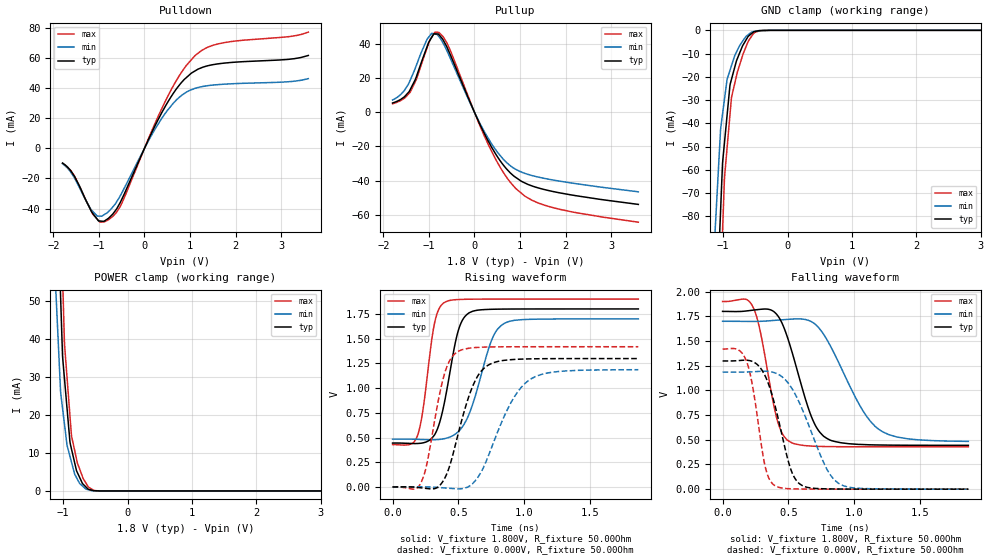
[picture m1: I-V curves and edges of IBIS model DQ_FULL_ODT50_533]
| [Disclaimer]  This software code and all associated documentation, comments
| or other information (collectively "Software") is provided
| "AS IS" without warranty of any kind. MICRON TECHNOLOGY, INC.
| ("MTI") EXPRESSLY DISCLAIMS ALL WARRANTIES EXPRESS OR IMPLIED,
| INCLUDING BUT NOT LIMITED TO, NONINFRINGEMENT OF THIRD PARTY
| RIGHTS, AND ANY IMPLIED WARRANTIES OF MERCHANTABILITY OR
| FITNESS FOR ANY PARTICULAR PURPOSE. MTI DOES NOT WARRANT THAT
| THE SOFTWARE WILL MEET YOUR REQUIREMENTS, OR THAT THE
| OPERATION OF THE SOFTWARE WILL BE UNINTERRUPTED OR ERROR-FREE.
| FURTHERMORE, MTI DOES NOT MAKE ANY REPRESENTATIONS REGARDING
| THE USE OR THE RESULTS OF THE USE OF THE SOFTWARE IN TERMS OF
| ITS CORRECTNESS, ACCURACY, RELIABILITY, OR OTHERWISE. THE
| ENTIRE RISK ARISING OUT OF USE OR PERFORMANCE OF THE SOFTWARE
| REMAINS WITH YOU. IN NO EVENT SHALL MTI, ITS AFFILIATED
| COMPANIES OR THEIR SUPPLIERS BE LIABLE FOR ANY DIRECT,
| INDIRECT, CONSEQUENTIAL, INCIDENTAL, OR SPECIAL DAMAGES
| (INCLUDING, WITHOUT LIMITATION, DAMAGES FOR LOSS OF PROFITS,
| BUSINESS INTERRUPTION, OR LOSS OF INFORMATION) ARISING OUT OF
| YOUR USE OF OR INABILITY TO USE THE SOFTWARE, EVEN IF MTI HAS
| BEEN ADVISED OF THE POSSIBILITY OF SUCH DAMAGES. Because some
| jurisdictions prohibit the exclusion or limitation of
| liability for consequential or incidental damages, the above
| limitation may not apply to you.
| [Copyright] Copyright 2006 Micron Technology, Inc. All rights reserved.
| From micron_ddr2_2Gb.ibs, Micron Technology, Inc.
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|   MODEL DQ_FULL_ODT50_533 (Full-Strength IO Driver with 50 Ohm ODT Submodel)
[Model]   DQ_FULL_ODT50_533
Model_type   I/O
Vinl = 650.000mV
Vinh = 1.150V
Vmeas = 900.000mV
Vref = 900.000mV
Cref = 0.0pF
Rref = 25.000Ohm
|   typ   min   max
C_comp   3.165pF   2.9393pF   3.338pF
| Note: C_comp increases when the ODT circuit is enabled.
[Model Spec]
| Measurement voltage corners
Vmeas   0.900V   0.850V   0.950V
| Input threshold voltage corners
Vinl   0.650V   0.600V   0.700V
Vinh   1.150V   1.100V   1.200V
| Timing spec test load voltage corners
Vref   0.900V   0.850V   0.950V
[Receiver Thresholds]
Vth   =  0.900V
Vth_min  =  0.882V
Vth_max  =  0.918V
Vinh_ac  =  0.250V
Vinh_dc  =  0.125V
Vinl_ac  = -0.250V
Vinl_dc  = -0.125V
Tslew_ac =  5.000ns |Not specified, so set to high value
Threshold_sensitivity = 0.50
Reference_supply Pullup_ref
[Voltage Range]   1.800V   1.700V   1.900V
[Pullup Reference]   1.800V   1.700V   1.900V
| Junction Temperature (Ambient temp is 25C typ, 85C min, 0C max)
[Temperature Range]   40.0   100.0   0.0
[Add Submodel]
| Submodel Name   Mode
50ohm_ODT_533   Non-Driving
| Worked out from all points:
|   slope of the pulldown table from 0 to 0.27 V, typ, clamps not added: 15.6 ohm
|   slope of the pullup table from 0 to 0.27 V, typ, clamps not added: 17.7 ohm
|   GND clamp passes 1 mA (typ) near -0.54 V on its own axis
|   POWER clamp passes 1 mA (typ) near -0.64 V on its own axis
|   falling waveform, V_fixture 1.800V, R_fixture 50.00Ohm: 20-80 % time 186ps typ, 284ps min, 126ps max; typ from 1.8 V to 0.444 V
|   rising waveform, V_fixture 1.800V, R_fixture 50.00Ohm: 20-80 % time 118ps typ, 167ps min, 87.5ps max; typ from 0.444 V to 1.8 V
|   rising waveform, V_fixture 0.000V, R_fixture 50.00Ohm: 20-80 % time 171ps typ, 240ps min, 124ps max; typ from 0 V to 1.3 V
|   falling waveform, V_fixture 0.000V, R_fixture 50.00Ohm: 20-80 % time 149ps typ, 223ps min, 101ps max; typ from 1.3 V to 0 V
[Pulldown]
|   Voltage   I(typ)   I(min)   I(max)
-1.8V     -9.814mA   -10.24mA   -9.848mA
-1.53V    -19.14mA   -20.17mA   -18.78mA
-1.175V   -41.29mA   -40.61mA   -41.34mA
-1.01V    -48.15mA   -44.94mA   -47.98mA
-875mV    -48.09mA   -43.82mA   -48.72mA
-530mV    -35.79mA   -31.35mA   -38.38mA
140mV     9.238mA    7.9mA      10.14mA
495mV     29.81mA    24.81mA    33.5mA
785mV     42.67mA    34.35mA    49.11mA
1.11V     51.31mA    39.75mA    61.46mA
1.675V    56.24mA    42.38mA    69.63mA
3.6V      61.58mA    46.2mA     77.08mA
[GND Clamp]
|   Voltage   I(typ)   I(min)   I(max)
-1.8V     -760.2mA   -639.4mA   -858.5mA
-1.135V   -142mA     -91.44mA   -181.1mA
-1.04V    -77.7mA    -42.64mA   -109.4mA
-1.01V    -57.4mA    -36.14mA   -86.74mA
-1.005V   -55.74mA   -35.08mA   -82.96mA
-975mV    -47.05mA   -28.71mA   -62.08mA
-940mV    -36.9mA    -21.29mA   -50.94mA
-895mV    -23.86mA   -17.33mA   -36.61mA
-870mV    -21.01mA   -15.16mA   -28.83mA
-700mV    -6.769mA   -4.783mA   -11.03mA
-560mV    -1.408mA   -820.9uA   -2.629mA
3.6V      0A         0A         0A
[Pullup]
|   Voltage   I(typ)   I(min)   I(max)
-1.8V     5.495mA    7.28mA     5.041mA
-1.55V    8.919mA    12.47mA    8.134mA
-1.41V    13.49mA    19.05mA    11.91mA
-1.04V    38.69mA    43.01mA    37.95mA
-895mV    46.01mA    46.15mA    46.1mA
-780mV    45.57mA    44.37mA    46.89mA
-535mV    34.05mA    31.96mA    36.61mA
245mV     -13.95mA   -12.71mA   -15.51mA
565mV     -28.45mA   -25.34mA   -32.25mA
910mV     -38.24mA   -33.49mA   -44.76mA
1.645V    -45.99mA   -39.31mA   -55.33mA
3.6V      -54.02mA   -46.63mA   -64.46mA
[POWER Clamp]
|   Voltage   I(typ)   I(min)   I(max)
-1.8V     607.7mA    524.8mA    658.9mA
-1.135V   101mA      60.68mA    129.7mA
-1.04V    51.41mA    26.15mA    74.28mA
-1.005V   34.6mA     21.18mA    53.87mA
-975mV    28.72mA    16.99mA    37.84mA
-940mV    21.86mA    12.11mA    30.02mA
-895mV    13.05mA    9.177mA    19.98mA
-870mV    11.02mA    7.572mA    14.52mA
-790mV    5.236mA    3.436mA    8.224mA
-645mV    1.023mA    473.7uA    2.044mA
-410mV    1.804uA    5.5uA      3.722uA
3.6V      0A         0A         0A
[Ramp]
R_load = 50.00Ohm
|   typ   min   max
dV/dt_r   778.856mV/171.105ps 711.244mV/240.017ps 850.725mV/124.342ps
dV/dt_f   813.586mV/186.105ps 729.667mV/284.294ps 882.571mV/125.971ps
[Falling Waveform]
V_fixture = 1.800V
V_fixture_min = 1.700V
V_fixture_max = 1.900V
R_fixture = 50.00Ohm
|   Time   V(typ)   V(min)   V(max)
0s        1.8V       1.7V       1.9V
230ps     1.812V     1.698V     1.848V
290ps     1.821V     1.699V     1.577V
420ps     1.756V     1.712V     680.8mV
510ps     1.47V      1.72V      481.7mV
680ps     720.8mV    1.693V     435.9mV
800ps     509.3mV    1.5V       431.2mV
1.06ns    452.2mV    811mV      429.1mV
1.2ns     447.1mV    595.3mV    429mV
1.87ns    443.9mV    483.5mV    428.9mV
[Rising Waveform]
V_fixture = 1.800V
V_fixture_min = 1.700V
V_fixture_max = 1.900V
R_fixture = 50.00Ohm
|   Time   V(typ)   V(min)   V(max)
0s        443.9mV    483.5mV    428.9mV
190ps     439.5mV    481.4mV    519.3mV
230ps     445.5mV    479.4mV    767.1mV
320ps     527.7mV    477.7mV    1.662V
390ps     824mV      487.3mV    1.862V
500ps     1.581V     559.1mV    1.895V
590ps     1.766V     763.1mV    1.898V
750ps     1.796V     1.472V     1.9V
850ps     1.799V     1.653V     1.9V
1.87ns    1.8V       1.7V       1.9V
[Rising Waveform]
V_fixture = 0.000V
V_fixture_min = 0.000V
V_fixture_max = 0.000V
R_fixture = 50.00Ohm
|   Time   V(typ)   V(min)   V(max)
0s        61.98uV    220.6uV    59.04uV
220ps     -9.134mV   1.584mV    53.74mV
260ps     -15.35mV   855.3uV    226.5mV
390ps     71.45mV    -9.174mV   1.121V
490ps     488.8mV    -18.69mV   1.364V
590ps     951.8mV    13.6mV     1.404V
680ps     1.179V     166.5mV    1.413V
900ps     1.287V     851mV      1.418V
1.04ns    1.295V     1.081V     1.418V
1.87ns    1.298V     1.186V     1.418V
[Falling Waveform]
V_fixture = 0.000V
V_fixture_min = 0.000V
V_fixture_max = 0.000V
R_fixture = 50.00Ohm
|   Time   V(typ)   V(min)   V(max)
0s        1.298V     1.186V     1.418V
180ps     1.306V     1.186V     1.303V
230ps     1.291V     1.189V     1.031V
320ps     1.158V     1.194V     253.4mV
400ps     841mV      1.177V     34.78mV
500ps     283.3mV    1.073V     5.139mV
560ps     91.04mV    942.5mV    2.403mV
780ps     3.549mV    238.8mV    410.3uV
880ps     1.645mV    61.83mV    263.6uV
1.87ns    61.98uV    220.6uV    59.04uV
